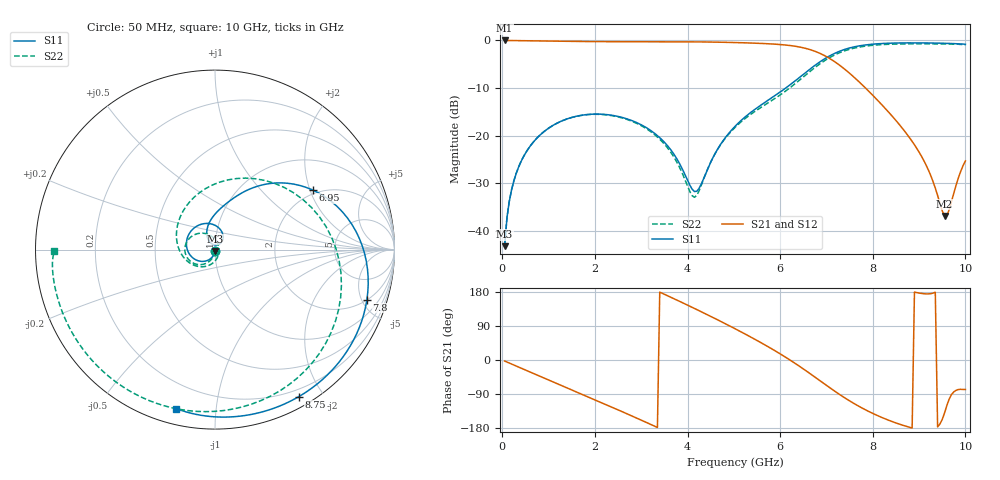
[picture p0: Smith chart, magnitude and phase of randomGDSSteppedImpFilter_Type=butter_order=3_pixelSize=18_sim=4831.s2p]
! freq	dB(S11)	phase(S11)	dB(S12)	phase(S12)
!  dB(S21)	phase(S21)	dB(S22)	phase(S22)
!S-par simulation data
#  GHz  S  DB  R 50
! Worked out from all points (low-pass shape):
!   200 points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, 50 MHz to 10 GHz, reference 50 ohm
!   highest |S21| = -0.01 dB at 50 MHz (marker M1); lowest = -36.8 dB at 9.55 GHz (marker M2)
!   |S21| within 3 dB of the highest: start of sweep to 6.923 GHz
!   lowest |S11| = -43.2 dB at 50 MHz (marker M3), VSWR 1.01, Z = 50 - j0.695 ohm
!   |S11| at or under -10 dB: start of sweep to 6.118 GHz
!   |S22| runs from -43.1 to -0.7 dB; largest |S21 - S12| = 0
!   S11 on the Smith chart (normalised r, x): 50 MHz: 1.00, -0.01; 6.95 GHz: 1.86, +2.08; 7.8 GHz: 2.04, -5.51; 8.75 GHz: 0.12, -1.72; 10 GHz: 0.07, -0.78
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0.05  -43.16 -91.2  -0.01 -2.7  -0.01 -2.7  -43.15 -90.4
0.2  -31.35 -101.9  -0.02 -10.7  -0.02 -10.7  -31.34 -98.8
0.5  -23.67 -120.8  -0.05 -26.5  -0.05 -26.5  -23.65 -113.1
1.15  -17.52 -160.5  -0.15 -60.6  -0.15 -60.6  -17.52 -142.4
1.75  -15.64 162.9  -0.23 -92.0  -0.23 -92.0  -15.67 -168.8
2.5  -15.94 116.6  -0.27 -131.6  -0.27 -131.6  -16.03 158.3
3.4  -20.40 63.2  -0.27 179.2  -0.27 179.2  -20.73 113.6
4.15  -31.70 80.8  -0.30 136.0  -0.30 136.0  -32.89 1.7
4.6  -23.65 124.2  -0.35 109.1  -0.35 109.1  -23.65 -91.7
5.05  -17.78 109.1  -0.45 81.0  -0.45 81.0  -18.01 -130.7
5.5  -14.14 90.3  -0.59 51.6  -0.59 51.6  -14.60 -170.5
6  -10.83 72.6  -0.86 16.2  -0.86 16.2  -11.44 135.6
6.35  -8.28 60.5  -1.26 -11.0  -1.26 -11.0  -8.86 92.2
6.7  -5.61 45.1  -2.10 -40.6  -2.10 -40.6  -6.07 47.9
6.95  -3.92 31.5  -3.14 -62.6  -3.14 -62.6  -4.30 17.6
7.35  -2.03 7.3  -5.69 -96.3  -5.69 -96.3  -2.32 -25.8
7.8  -1.00 -18.2  -9.57 -128.8  -9.57 -128.8  -1.25 -65.5
8.35  -0.58 -44.3  -15.13 -159.3  -15.13 -159.3  -0.80 -102.4
8.75  -0.51 -60.2  -19.83 -176.0  -19.83 -176.0  -0.72 -124.0
9.2  -0.53 -76.3  -27.16 174.4  -27.16 174.4  -0.71 -145.2
9.55  -0.60 -88.1  -36.80 -139.7  -36.80 -139.7  -0.74 -160.3
10  -0.80 -103.7  -25.28 -77.9  -25.28 -77.9  -0.96 -179.6
